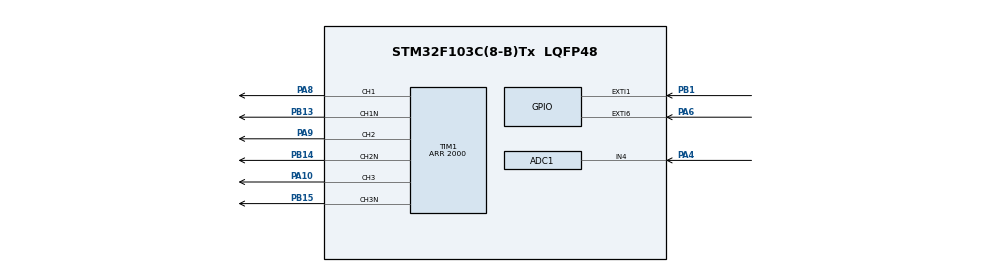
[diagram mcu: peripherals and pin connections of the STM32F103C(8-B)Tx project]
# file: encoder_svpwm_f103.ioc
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ADC1.Channel-0\#ChannelRegularConversion=ADC_CHANNEL_4
ADC1.NbrOfConversionFlag=1
ADC1.Rank-0\#ChannelRegularConversion=1
ADC1.SamplingTime-0\#ChannelRegularConversion=ADC_SAMPLETIME_1CYCLE_5
ADC1.master=1
Mcu.Family=STM32F1
Mcu.Name=STM32F103C(8-B)Tx
Mcu.Package=LQFP48
NVIC.EXTI1_IRQn=true\:0\:0\:false\:false\:true\:true\:true\:true
NVIC.EXTI9_5_IRQn=true\:0\:0\:false\:false\:true\:true\:true\:true
NVIC.PriorityGroup=NVIC_PRIORITYGROUP_4
NVIC.TIM4_IRQn=true\:0\:0\:false\:false\:true\:true\:true\:true
PA10.Signal=S_TIM1_CH3
PA13.Mode=Serial_Wire
PA13.Signal=SYS_JTMS-SWDIO
PA14.Mode=Serial_Wire
PA14.Signal=SYS_JTCK-SWCLK
PA4.Signal=ADCx_IN4
PA6.GPIO_ModeDefaultEXTI=GPIO_MODE_IT_RISING
PA6.GPIO_PuPd=GPIO_PULLUP
PA6.Signal=GPXTI6
PA8.Signal=S_TIM1_CH1
PA9.Signal=S_TIM1_CH2
PB1.GPIO_PuPd=GPIO_PULLUP
PB1.Signal=GPXTI1
PB13.Mode=PWM Generation1 CH1 CH1N
PB13.Signal=TIM1_CH1N
PB14.Mode=PWM Generation2 CH2 CH2N
PB14.Signal=TIM1_CH2N
PB15.Mode=PWM Generation3 CH3 CH3N
PB15.Signal=TIM1_CH3N
ProjectManager.HeapSize=0x200
ProjectManager.StackSize=0x400
ProjectManager.TargetToolchain=STM32CubeIDE
RCC.APB1Freq_Value=8000000
RCC.APB2Freq_Value=8000000
SH.ADCx_IN4.0=ADC1_IN4,IN4
SH.S_TIM1_CH1.0=TIM1_CH1,PWM Generation1 CH1 CH1N
SH.S_TIM1_CH2.0=TIM1_CH2,PWM Generation2 CH2 CH2N
SH.S_TIM1_CH3.0=TIM1_CH3,PWM Generation3 CH3 CH3N
TIM1.AutoReloadPreload=TIM_AUTORELOAD_PRELOAD_ENABLE
TIM1.Channel-PWM\ Generation1\ CH1\ CH1N=TIM_CHANNEL_1
TIM1.Channel-PWM\ Generation2\ CH2\ CH2N=TIM_CHANNEL_2
TIM1.Channel-PWM\ Generation3\ CH3\ CH3N=TIM_CHANNEL_3
TIM1.CounterMode=TIM_COUNTERMODE_CENTERALIGNED1
TIM1.DeadTime=50
TIM1.Period=2000
TIM4.AutoReloadPreload=TIM_AUTORELOAD_PRELOAD_ENABLE
VP_TIM1_VS_ClockSourceINT.Mode=Internal
VP_TIM4_VS_ClockSourceINT.Mode=Internal
board=custom

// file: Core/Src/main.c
/* USER CODE BEGIN Header */
/**
  ******************************************************************************
  * @file           : main.c
  * @brief          : Main program body
  ******************************************************************************
  * @attention
  *
  * Copyright (c) 2024 STMicroelectronics.
  * All rights reserved.
  *
  * This software is licensed under terms that can be found in the LICENSE file
  * in the root directory of this software component.
  * If no LICENSE file comes with this software, it is provided AS-IS.
  *
  ******************************************************************************
  */
/* USER CODE END Header */
#include "main.h"
#include "adc.h"
#include "tim.h"
#include "gpio.h"

/* USER CODE BEGIN Includes */

#include "math.h"

/* USER CODE END Includes */

/* USER CODE BEGIN PD */
#define THROTTLE_MIN 82
#define THROTTLE_MAX 7950
#define SCALING_FACTOR 65535
#define TB_PRD 4000
#define offset 5

#define STOP 0
#define STARTUP 1
#define RUNNING 2
#define M_PI 3.14159265358979323846
#define sqrtThree 1.732050807568877293
/* USER CODE END PD */

/* USER CODE BEGIN PV */
uint32_t counter=0;

int value=0;
int state = STOP,pstate = STOP;
float T1 = 0, T2 = 0, T0 = 0;
int enc_pos = 0;	// It is encoder position of the rotor
int last_tick = 0 ,current_tick = 0;
int throttle=0;
int enc_elecpos=0;
int sector=0;

float sin_thetaelec[33] ;
		/*
{0,
									6423,
									12785,
									19023,
									25079,
									30892,
									36409,
									41574,
									46340,
									50659,
									54490,
									2144,
									8554,
									14881,
									21065,
									27046,
									32767,
									38172,
									43210,
									47831,
									51992,
									55652,
									4286,
									10675,
									16961,
									23084,
									28985,
									34606,
									39895,
									44799,
									49271,
									53269,
									56754};

									*/
/* USER CODE END PV */

void SystemClock_Config(void);

/* USER CODE BEGIN 0 */
inline int capture_throttle();
//void Signal_Commutation(int enc_elecpos);
/* USER CODE END 0 */

int main(void)
{

  /* MCU Configuration--------------------------------------------------------*/

  /* Reset of all peripherals, Initializes the Flash interface and the Systick. */
  HAL_Init();

  /* Configure the system clock */
  SystemClock_Config();

  /* Initialize all configured peripherals */
  MX_GPIO_Init();
  MX_ADC1_Init();
  MX_TIM1_Init();
  MX_TIM4_Init();
  /* USER CODE BEGIN 2 */

  for(int i=0;i<33;i++)
  {

	  sin_thetaelec[i] = sin(i*M_PI/33 + 90*M_PI/360);

  }

  HAL_TIMEx_PWMN_Start(&htim1, TIM_CHANNEL_1);
  HAL_TIMEx_PWMN_Start(&htim1, TIM_CHANNEL_2);
  HAL_TIMEx_PWMN_Start(&htim1, TIM_CHANNEL_3);
  HAL_TIM_PWM_Start(&htim1, TIM_CHANNEL_1);
  HAL_TIM_PWM_Start(&htim1, TIM_CHANNEL_2);
  HAL_TIM_PWM_Start(&htim1, TIM_CHANNEL_3);
  HAL_ADC_Start(&hadc1);
  last_tick = HAL_GetTick();
  /* USER CODE END 2 */

  /* Infinite loop */
  while (1)
  {

    /* USER CODE BEGIN 3 */
      throttle= 4000;
      enc_elecpos=enc_pos%64;

	  if(enc_elecpos < 33)
	  	{
	  		T1 = (sin_thetaelec[enc_elecpos])*(sqrtThree*1000);
	  		T2 = (sin_thetaelec[32 - enc_elecpos])*(sqrtThree*1000) ;
	  	}
	  	else
	  	{
	  		T1 = (sin_thetaelec[enc_elecpos - 32])*(sqrtThree*1000) ;
	  		T2 = (sin_thetaelec[64 - enc_elecpos])*(sqrtThree*1000) ;
	  	}
	  	T0 = TB_PRD - T1 - T2;
	  	sector = enc_elecpos/10;
	  	switch(sector)
	  	{
	  	case 0:
	  		TIM1->CCR3 = T0/2;
	  		TIM1->CCR2 = T0/2 + T1 + T2;
	  		TIM1->CCR1 = T0/2 + T1;
	  	break;
	  	case 1:
	  		TIM1->CCR3 = T0/2 + T2;
	  		TIM1->CCR2 = T0/2 + T2 + T1;
	  		TIM1->CCR1 = T0/2;
	  	break;
	  	case 2:
	  		TIM1->CCR3 = T0/2 + T1 + T2;
	  		TIM1->CCR2 = T0/2 + T1;
	  		TIM1->CCR1 = T0/2;
	  	break;
	  	case 3:
	  		TIM1->CCR3 = T0/2 + T2 + T1;
	  		TIM1->CCR2 = T0/2;
	  		TIM1->CCR3 = T0/2 + T2;
	  	break;
	  	case 4:
	  		TIM1->CCR3 = T0/2 + T1;
	  		TIM1->CCR2 = T0/2;
	  		TIM1->CCR1 = T0/2 + T1 + T2;
	  	break;
	  	case 5:
	  		TIM1->CCR3 = T0/2;
	  		TIM1->CCR2 = T0/2 + T2;
	  		TIM1->CCR1 = T0/2 + T2 + T1;
	  	break;
	  	default:
	  		TIM1->CCR3 = 0;
	  		TIM1->CCR2 = 0;
	  		TIM1->CCR1 = 0;
	  	}

  }
  /* USER CODE END 3 */
}

void SystemClock_Config(void)
{
  RCC_OscInitTypeDef RCC_OscInitStruct = {0};
  RCC_ClkInitTypeDef RCC_ClkInitStruct = {0};
  RCC_PeriphCLKInitTypeDef PeriphClkInit = {0};

  /** Initializes the RCC Oscillators according to the specified parameters
  * in the RCC_OscInitTypeDef structure.
  */
  RCC_OscInitStruct.OscillatorType = RCC_OSCILLATORTYPE_HSI;
  RCC_OscInitStruct.HSIState = RCC_HSI_ON;
  RCC_OscInitStruct.HSICalibrationValue = RCC_HSICALIBRATION_DEFAULT;
  RCC_OscInitStruct.PLL.PLLState = RCC_PLL_NONE;
  if (HAL_RCC_OscConfig(&RCC_OscInitStruct) != HAL_OK)
  {
    Error_Handler();
  }

  /** Initializes the CPU, AHB and APB buses clocks
  */
  RCC_ClkInitStruct.ClockType = RCC_CLOCKTYPE_HCLK|RCC_CLOCKTYPE_SYSCLK
                              |RCC_CLOCKTYPE_PCLK1|RCC_CLOCKTYPE_PCLK2;
  RCC_ClkInitStruct.SYSCLKSource = RCC_SYSCLKSOURCE_HSI;
  RCC_ClkInitStruct.AHBCLKDivider = RCC_SYSCLK_DIV1;
  RCC_ClkInitStruct.APB1CLKDivider = RCC_HCLK_DIV1;
  RCC_ClkInitStruct.APB2CLKDivider = RCC_HCLK_DIV1;

  if (HAL_RCC_ClockConfig(&RCC_ClkInitStruct, FLASH_LATENCY_0) != HAL_OK)
  {
    Error_Handler();
  }
  PeriphClkInit.PeriphClockSelection = RCC_PERIPHCLK_ADC;
  PeriphClkInit.AdcClockSelection = RCC_ADCPCLK2_DIV2;
  if (HAL_RCCEx_PeriphCLKConfig(&PeriphClkInit) != HAL_OK)
  {
    Error_Handler();
  }
}

/* USER CODE BEGIN 4 */
int capture_throttle()
{
	  int c_throttle = 0;
	  int adc_val = 0;
	  HAL_ADC_PollForConversion(&hadc1, HAL_MAX_DELAY);
	  adc_val = HAL_ADC_GetValue(&hadc1);

	  if (adc_val < 1300)
	  {
		c_throttle = THROTTLE_MIN;
	  }
	  else if (adc_val <= 2900)
	  {
		c_throttle = THROTTLE_MIN + ((adc_val - 1300)*THROTTLE_MAX)/(THROTTLE_MAX - THROTTLE_MIN);
	  }
	  else
	  {
		c_throttle = THROTTLE_MAX;
	  }
	  return c_throttle;
}

/*
void Signal_Commutation(int enc_elecpos)
{

	//throttle = capture_throttle();
	int sector;
	counter++;
	if(enc_elecpos < 33)
	{
		T1 = (sin_thetaelec[enc_elecpos])/SCALING_FACTOR;
		T2 = (sin_thetaelec[32 - enc_elecpos])/SCALING_FACTOR ;
	}
	else
	{
		T1 = (sin_thetaelec[enc_elecpos - 32])/SCALING_FACTOR ;
		T2 = (sin_thetaelec[64 - enc_elecpos])/SCALING_FACTOR ;
	}
	T0 = TB_PRD - T1 - T2;
	sector = enc_elecpos/10;
	switch(sector)
	{
	case 0:
		TIM1->CCR3 = T0/2;
		TIM1->CCR2 = T0/2 + T1 + T2;
		TIM1->CCR1 = T0/2 + T1;
	break;
	case 1:
		TIM1->CCR3 = T0/2 + T2;
		TIM1->CCR2 = T0/2 + T2 + T1;
		TIM1->CCR1 = T0/2;
	break;
	case 2:
		TIM1->CCR3 = T0/2 + T1 + T2;
		TIM1->CCR2 = T0/2 + T1;
		TIM1->CCR1 = T0/2;
	break;
	case 3:
		TIM1->CCR3 = T0/2 + T2 + T1;
		TIM1->CCR2 = T0/2;
		TIM1->CCR3 = T0/2 + T2;
	break;
	case 4:
		TIM1->CCR3 = T0/2 + T1;
		TIM1->CCR2 = T0/2;
		TIM1->CCR1 = T0/2 + T1 + T2;
	break;
	case 5:
		TIM1->CCR3 = T0/2;
		TIM1->CCR2 = T0/2 + T2;
		TIM1->CCR1 = T0/2 + T2 + T1;
	break;
	default:
		TIM1->CCR3 = 0;
		TIM1->CCR2 = 0;
		TIM1->CCR1 = 0;
	}
}
*/

void HAL_TIM_PeriodElapsedCallback(TIM_HandleTypeDef *htim)
{
	switch(state)
	{
	case STOP:
		if(throttle > 0)
			state = STARTUP;
	break;
	case STARTUP:
		pstate = STARTUP;
		enc_pos++;
		if(enc_pos == 512)
			enc_pos = 0;
	//	Signal_Commutation(enc_pos % 64);
	break;
	case RUNNING:
		pstate = RUNNING;
	//	Signal_Commutation(enc_pos % 64);
	break;
	default:
		state = STOP;
	}
}

void HAL_GPIO_EXTI_Callback(uint16_t GPIO_Pin)
{
	if(GPIO_Pin == GPIO_PIN_1)
	{
		state = RUNNING;
		enc_pos = 0;
		last_tick = HAL_GetTick();
	}
	if(state == RUNNING)
	if(GPIO_Pin == GPIO_PIN_6)
	{
		current_tick = HAL_GetTick();
		enc_pos++;
		if(enc_pos == 512)
			enc_pos = 0;
		last_tick = current_tick;
	}
}
/* USER CODE END 4 */

void Error_Handler(void)
{
  __disable_irq();
  while (1)
  {
  }
}
